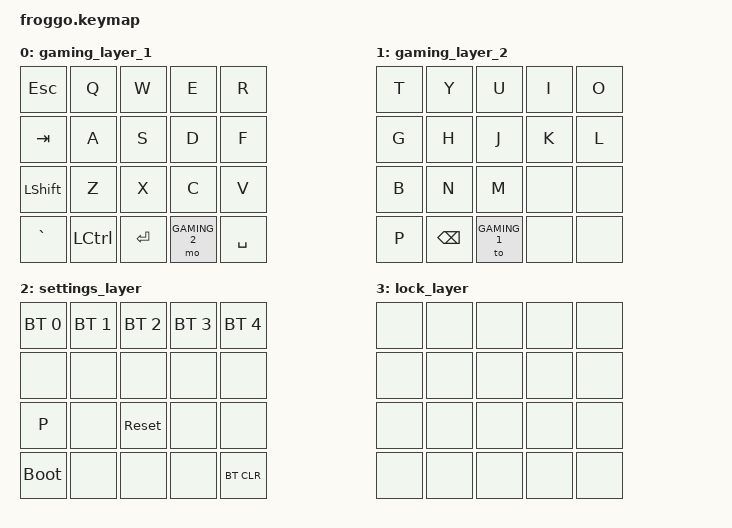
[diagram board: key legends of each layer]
#include <behaviors.dtsi>
#include <dt-bindings/zmk/keys.h>
#include <dt-bindings/zmk/bt.h>

#define GAMING_1 0
#define GAMING_2 1
#define SETTINGS 2
#define LOCK 3

/ {
    combos {
        compatible = "zmk,combos";

        // Meta combos
        meta_settings_combo {
            timeout-ms = <50>;
            key-positions = <16 17 18>;
            bindings = <&mo SETTINGS>;
        };

        gaming_combo {
            timeout-ms = <50>;
            key-positions = <16 18>;
            bindings = <&to GAMING_1>;
        };

        meta_lock_combo {
            timeout-ms = <50>;
            key-positions = <15 17 19>;
            bindings = <&tog LOCK>;
        };
    };
 
    keymap {
        compatible = "zmk,keymap";

        gaming_layer_1 {
            bindings = <
                    &kp ESC &kp Q &kp W &kp E &kp R
                    &kp TAB &kp A &kp S &kp D &kp F
                    &kp LSHIFT &kp Z &kp X &kp C &kp V
                &kp GRAVE &kp LCTRL &kp RET &mo GAMING_2 &kp SPACE
            >;
        };

        gaming_layer_2 {
            bindings = <
                    &kp T &kp Y &kp U &kp I &kp O
                    &kp G &kp H &kp J &kp K &kp L
                    &kp B &kp N &kp M &none &none
                &kp P &kp BACKSPACE &to GAMING_1 &none &none
            >;
        };

        settings_layer {
            bindings = <
                            &bt BT_SEL 0 &bt BT_SEL 1 &bt BT_SEL 2 &bt BT_SEL 3 &bt BT_SEL 4
                            &none        &none        &none        &none        &none 
                            &kp P        &none        &sys_reset   &none        &none 
                &bootloader &none                     &none                     &none        &bt BT_CLR
            >;
        };

        lock_layer {
            bindings = <
                      &none &none &none &none &none 
                      &none &none &none &none &none 
                      &none &none &none &none &none 
                &none &none       &none       &none       &none
            >;
        };
    };
};
